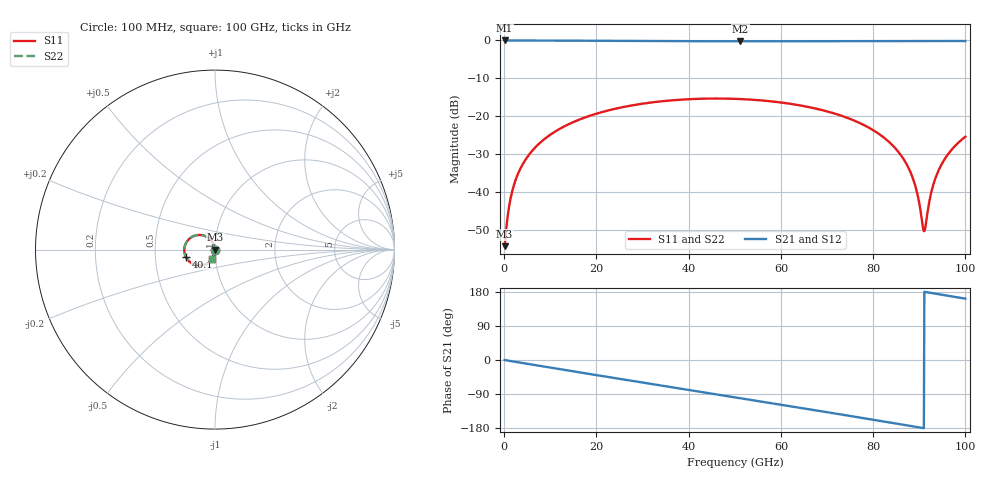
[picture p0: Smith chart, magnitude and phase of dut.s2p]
! Created Wed Jul  8 17:02:05 2026
# hz S ma R 50
! Port[1] Term1
! Port[2] Term2
! 2 Port Network Data from SP1.SP block
! freq  magS11  angS11  magS21  angS21  magS12  angS12  magS22  angS22
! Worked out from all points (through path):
!   1000 points, 100 MHz to 100 GHz, reference 50 ohm
!   highest |S21| = -0.02 dB at 100 MHz (marker M1); lowest = -0.2 dB at 51.2 GHz (marker M2)
!   group delay of S21, straight-line fit = 5.47 ps
!   lowest |S11| = -54.3 dB at 100 MHz (marker M3), VSWR 1.00, Z = 50.2 - j0.0575 ohm
!   |S11| at or under -10 dB: start of sweep to end of sweep
!   |S22| runs from -54.3 to -15.3 dB; largest |S21 - S12| = 0
!   S11 on the Smith chart (normalised r, x): 100 MHz: 1.00, -0.00; 40.1 GHz: 0.72, -0.06; 100 GHz: 0.96, -0.10
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1e8  0.001932 -17.3  0.9982 -0.2  0.9982 -0.2  0.001932 -17.3
1.1e9  0.006616 -74.0  0.9979 -2.2  0.9979 -2.2  0.006616 -74.0
1.8e9  0.01054 -81.5  0.9977 -3.6  0.9977 -3.6  0.01054 -81.5
4.5e9  0.02596 -93.0  0.9969 -9.0  0.9969 -9.0  0.02596 -93.0
9.4e9  0.05366 -104.8  0.9948 -18.8  0.9948 -18.8  0.05366 -104.8
1.68e10  0.09271 -120.4  0.9902 -33.5  0.9902 -33.5  0.09271 -120.4
3.34e10  0.1556 -153.5  0.9786 -66.1  0.9786 -66.1  0.1556 -153.5
4.01e10  0.1677 -166.7  0.9753 -79.2  0.9753 -79.2  0.1677 -166.7
5.01e10  0.1694 173.9  0.9731 -98.6  0.9731 -98.6  0.1694 173.9
5.12e10  0.1684 171.7  0.973 -100.8  0.973 -100.8  0.1684 171.7
6.67e10  0.1295 141.7  0.9765 -131.1  0.9765 -131.1  0.1295 141.7
7.65e10  0.08444 122.9  0.9802 -150.6  0.9802 -150.6  0.08444 122.9
8.34e10  0.04608 110.8  0.9821 -164.5  0.9821 -164.5  0.04608 110.8
8.61e10  0.03016 107.4  0.9825 -170.0  0.9825 -170.0  0.03016 107.4
8.81e10  0.01822 107.2  0.9826 -174.0  0.9826 -174.0  0.01822 107.2
8.93e10  0.01111 111.0  0.9826 -176.4  0.9826 -176.4  0.01111 111.0
9.07e10  0.003731 146.8  0.9826 -179.3  0.9826 -179.3  0.003731 146.8
9.11e10  0.003045 -173.5  0.9825 179.9  0.9825 179.9  0.003045 -173.5
9.28e10  0.01104 -107.8  0.9824 176.5  0.9824 176.5  0.01104 -107.8
9.43e10  0.01996 -103.7  0.9821 173.4  0.9821 173.4  0.01996 -103.7
9.68e10  0.0349 -104.9  0.9815 168.4  0.9815 168.4  0.0349 -104.9
1e11  0.05368 -109.7  0.9805 161.9  0.9805 161.9  0.05368 -109.7
